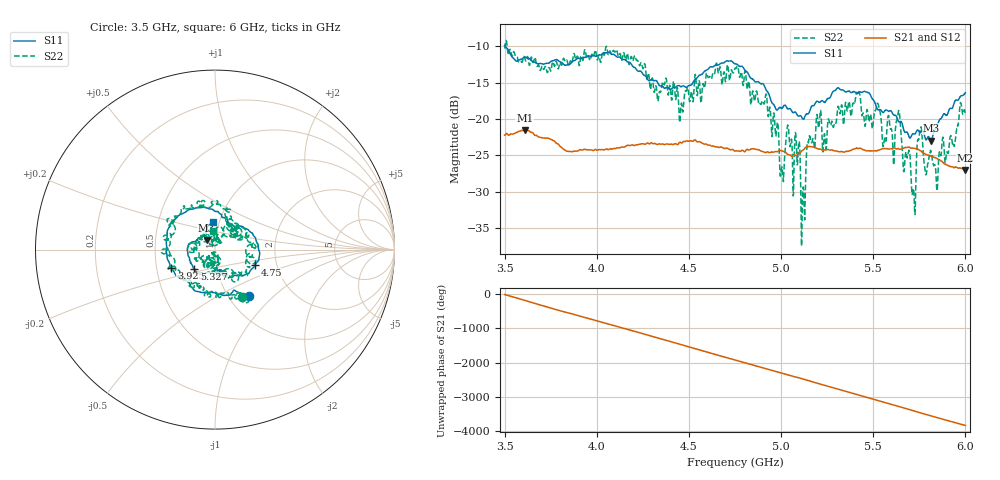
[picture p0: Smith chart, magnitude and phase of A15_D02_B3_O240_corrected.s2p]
! Created with skrf 1.9.0 (http://scikit-rf.org).
# Hz S RI R 50.0
!freq ReS11 ImS11 ReS21 ImS21 ReS12 ImS12 ReS22 ImS22
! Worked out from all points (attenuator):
!   1601 points, 3.5 GHz to 6 GHz, reference 50 ohm
!   highest |S21| = -21.53 dB at 3.609 GHz (marker M1); lowest = -27.0 dB at 6 GHz (marker M2)
!   lowest |S11| = -23.0 dB at 5.814 GHz (marker M3), VSWR 1.15, Z = 45.3 + j4.88 ohm
!   |S11| at or under -10 dB: 3.503 GHz to end of sweep
!   |S22| runs from -37.5 to -9.2 dB; largest |S21 - S12| = 0.00089
!   S11 on the Smith chart (normalised r, x): 3.5 GHz: 1.25, -0.71; 3.925 GHz: 0.60, -0.13; 4.75 GHz: 1.54, -0.28; 5.327 GHz: 0.78, -0.17; 6 GHz: 0.94, +0.29
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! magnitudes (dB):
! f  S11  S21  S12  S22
! 3.5 GHz  -9.9  -22.2  -22.2  -10.3
! 3.609 GHz  -11.5  -21.5  -21.5  -11.7
! 3.917 GHz  -11.6  -24.3  -24.3  -11.4
! 3.925 GHz  -11.5  -24.2  -24.2  -12.0
! 4.213 GHz  -13.1  -23.6  -23.6  -11.8
! 4.334 GHz  -15.2  -23.5  -23.4  -17.2
! 4.458 GHz  -15.6  -23.3  -23.2  -18.0
! 4.75 GHz  -12.4  -24.4  -24.3  -13.0
! 4.927 GHz  -16.2  -24.5  -24.5  -18.6
! 5.005 GHz  -18.5  -24.4  -24.4  -26.6
! 5.034 GHz  -18.6  -24.9  -24.8  -21.0
! 5.088 GHz  -19.5  -24.9  -24.9  -26.3
! 5.119 GHz  -20.0  -24.3  -24.2  -29.4
! 5.167 GHz  -18.2  -23.8  -23.8  -23.2
! 5.327 GHz  -16.0  -24.5  -24.4  -18.2
! 5.584 GHz  -19.0  -24.1  -24.1  -19.6
! 5.639 GHz  -20.4  -24.1  -24.1  -18.8
! 5.719 GHz  -22.0  -24.0  -24.0  -29.7
! 5.752 GHz  -21.8  -24.3  -24.2  -21.8
! 5.814 GHz  -23.0  -25.1  -25.0  -24.6
! 5.841 GHz  -21.3  -25.3  -25.3  -27.6
! 6 GHz  -16.4  -27.0  -26.9  -19.4
